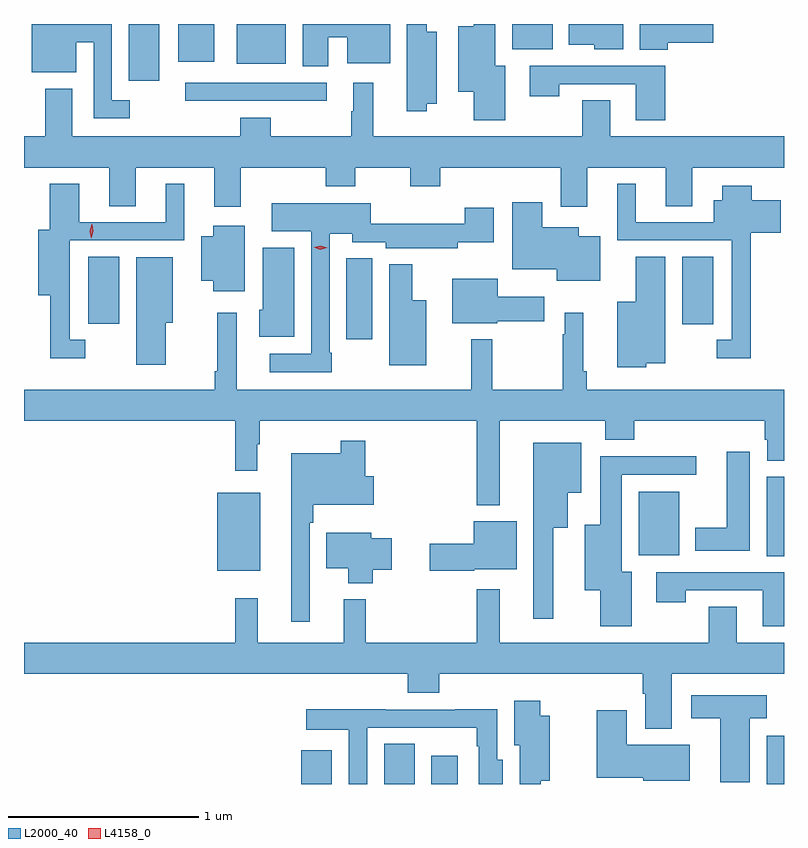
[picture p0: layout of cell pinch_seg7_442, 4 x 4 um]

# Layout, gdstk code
import gdstk
lib = gdstk.Library(unit=1e-6, precision=1e-09)
def R(c, l, rs):  # rectangles x0, y0, x1, y1
    for r in rs: c.add(gdstk.rectangle(r[:2], r[2:], *l))
def P(c, l, *ps):  # polygons
    for p in ps: c.add(gdstk.Polygon(p, *l))
L2000_40 = (2000, 40)
L4158_0 = (4158, 0)

pinch_seg7_442 = lib.new_cell('pinch_seg7_442')
R(pinch_seg7_442, L2000_40, [(265.91,1053.316,266.071,1053.493), (266.345,1053.316,266.506,1053.527), (266.594,1053.316,266.734,1053.466), (268.358,1053.316,268.45,1053.571), (265.466,1054.439,265.693,1054.849), (268.358,1054.516,268.45,1054.932), (267.686,1054.52,267.898,1054.855), (266.147,1055.658,266.284,1056.083), (267.914,1055.736,268.078,1056.092), (264.788,1055.739,264.952,1056.092), (265.299,1056.912,266.044,1057.008), (265.001,1057.017,265.162,1057.316), (265.571,1057.106,265.828,1057.316), (265.262,1057.118,265.45,1057.316), (267.02,1057.184,267.232,1057.316)])
P(pinch_seg7_442, L2000_40, [(265.006,1056.915),(264.912,1056.915),(264.912,1057.316),(264.491,1057.316),(264.491,1057.061),(264.724,1057.061),(264.724,1057.219),(264.816,1057.219),(264.816,1056.819),(265.006,1056.819)],
  [(266.569,1056.896),(266.623,1056.896),(266.623,1057.276),(266.569,1057.276),(266.569,1057.316),(266.465,1057.316),(266.465,1056.857),(266.569,1056.857)],
  [(266.983,1057.096),(266.929,1057.096),(266.929,1057.316),(266.816,1057.316),(266.816,1057.303),(266.735,1057.303),(266.735,1056.959),(266.816,1056.959),(266.816,1056.81),(266.983,1056.81)],
  [(267.839,1057.217),(268.078,1057.217),(268.078,1057.316),(267.692,1057.316),(267.692,1057.18),(267.839,1057.18)],
  [(266.05,1057.247),(266.15,1057.247),(266.15,1057.109),(266.377,1057.109),(266.377,1057.316),(265.916,1057.316),(265.916,1057.093),(266.05,1057.093)],
  [(267.604,1057.316),(267.317,1057.316),(267.317,1057.208),(267.45,1057.208),(267.45,1057.184),(267.604,1057.184)],
  [(267.824,1057.095),(267.111,1057.095),(267.111,1056.936),(267.267,1056.936),(267.267,1056.999),(267.671,1056.999),(267.671,1056.81),(267.824,1056.81)],
  [(267.535,1056.914),(267.388,1056.914),(267.388,1056.724),(266.287,1056.724),(266.287,1057.006),(266.183,1057.006),(266.183,1056.857),(266.173,1056.857),(266.173,1056.724),(265.749,1056.724),(265.749,1056.823),(265.589,1056.823),(265.589,1056.724),(264.703,1056.724),(264.703,1056.976),(264.563,1056.976),(264.563,1056.724),(264.45,1056.724),(264.45,1056.56),(264.899,1056.56),(264.899,1056.358),(265.039,1056.358),(265.039,1056.56),(265.451,1056.56),(265.451,1056.354),(265.591,1056.354),(265.591,1056.56),(266.038,1056.56),(266.038,1056.461),(266.193,1056.461),(266.193,1056.56),(266.482,1056.56),(266.482,1056.461),(266.642,1056.461),(266.642,1056.56),(267.275,1056.56),(267.275,1056.354),(267.415,1056.354),(267.415,1056.56),(267.827,1056.56),(267.827,1056.358),(267.967,1056.358),(267.967,1056.56),(268.45,1056.56),(268.45,1056.724),(267.535,1056.724)],
  [(268.275,1056.218),(268.432,1056.218),(268.432,1056.388),(268.281,1056.388),(268.281,1056.466),(268.124,1056.466),(268.124,1056.388),(268.079,1056.388),(268.079,1056.273),(267.67,1056.273),(267.67,1056.475),(267.572,1056.475),(267.572,1056.177),(268.176,1056.177),(268.176,1055.655),(268.095,1055.655),(268.095,1055.558),(268.275,1055.558)],
  [(264.772,1055.655),(264.69,1055.655),(264.69,1056.177),(265.294,1056.177),(265.294,1056.475),(265.196,1056.475),(265.196,1056.273),(264.742,1056.273),(264.742,1056.475),(264.586,1056.475),(264.586,1056.232),(264.524,1056.232),(264.524,1055.888),(264.589,1055.888),(264.589,1055.558),(264.772,1055.558)],
  [(267.484,1056.199),(267.37,1056.199),(267.37,1056.247),(267.178,1056.247),(267.178,1056.379),(267.02,1056.379),(267.02,1056.026),(267.254,1056.026),(267.254,1055.966),(267.484,1055.966)],
  [(266.071,1055.587),(266.058,1055.587),(266.058,1056.212),(266.178,1056.212),(266.178,1056.168),(266.354,1056.168),(266.354,1056.137),(266.734,1056.137),(266.734,1056.167),(266.923,1056.167),(266.923,1056.349),(266.771,1056.349),(266.771,1056.265),(266.274,1056.265),(266.274,1056.373),(265.755,1056.373),(265.755,1056.224),(265.962,1056.224),(265.962,1055.58),(265.743,1055.58),(265.743,1055.484),(266.071,1055.484)],
  [(265.612,1056.253),(265.445,1056.253),(265.445,1056.199),(265.382,1056.199),(265.382,1055.966),(265.445,1055.966),(265.445,1055.909),(265.612,1055.909)],
  [(265.873,1056.139),(265.706,1056.139),(265.706,1055.811),(265.688,1055.811),(265.688,1055.669),(265.873,1055.669)],
  [(267.726,1055.531),(267.826,1055.531),(267.826,1056.092),(267.671,1056.092),(267.671,1055.854),(267.572,1055.854),(267.572,1055.51),(267.726,1055.51)],
  [(265.195,1055.744),(265.234,1055.744),(265.234,1056.088),(265.04,1056.088),(265.04,1055.523),(265.195,1055.523)],
  [(266.566,1055.863),(266.494,1055.863),(266.494,1056.052),(266.372,1056.052),(266.372,1055.519),(266.566,1055.519)],
  [(266.94,1055.752),(267.187,1055.752),(267.187,1055.881),(266.944,1055.881),(266.944,1055.974),(266.705,1055.974),(266.705,1055.741),(266.94,1055.741)],
  [(266.953,1055.228),(267.509,1055.228),(267.509,1055.129),(267.662,1055.129),(267.662,1055.228),(268.349,1055.228),(268.349,1055.127),(268.361,1055.127),(268.361,1055.017),(268.45,1055.017),(268.45,1055.392),(267.413,1055.392),(267.413,1055.488),(267.394,1055.488),(267.394,1055.797),(267.297,1055.797),(267.297,1055.684),(267.285,1055.684),(267.285,1055.392),(266.914,1055.392),(266.914,1055.656),(266.803,1055.656),(266.803,1055.392),(265.569,1055.392),(265.569,1055.797),(265.468,1055.797),(265.468,1055.488),(265.453,1055.488),(265.453,1055.392),(264.45,1055.392),(264.45,1055.228),(265.561,1055.228),(265.561,1054.965),(265.678,1054.965),(265.678,1055.105),(265.69,1055.105),(265.69,1055.228),(266.832,1055.228),(266.832,1054.784),(266.953,1054.784)],
  [(265.953,1054.691),(265.973,1054.691),(265.973,1054.787),(266.29,1054.787),(266.29,1054.935),(266.246,1054.935),(266.246,1055.122),(266.118,1055.122),(266.118,1055.056),(265.856,1055.056),(265.856,1054.17),(265.953,1054.17)],
  [(267.235,1054.664),(267.313,1054.664),(267.313,1054.85),(267.382,1054.85),(267.382,1055.113),(267.131,1055.113),(267.131,1054.185),(267.235,1054.185)],
  [(268.27,1055.065),(268.148,1055.065),(268.148,1054.666),(267.983,1054.666),(267.983,1054.544),(268.27,1054.544)],
  [(267.649,1054.432),(267.595,1054.432),(267.595,1054.944),(267.988,1054.944),(267.988,1055.042),(267.482,1055.042),(267.482,1054.681),(267.401,1054.681),(267.401,1054.337),(267.482,1054.337),(267.482,1054.146),(267.649,1054.146)],
  [(266.82,1054.445),(267.043,1054.445),(267.043,1054.699),(266.816,1054.699),(266.816,1054.58),(266.586,1054.58),(266.586,1054.438),(266.82,1054.438)],
  [(266.286,1054.444),(266.386,1054.444),(266.386,1054.609),(266.278,1054.609),(266.278,1054.639),(266.042,1054.639),(266.042,1054.451),(266.156,1054.451),(266.156,1054.373),(266.286,1054.373)],
  [(268.45,1054.431),(267.777,1054.431),(267.777,1054.272),(267.933,1054.272),(267.933,1054.335),(268.337,1054.335),(268.337,1054.146),(268.45,1054.146)],
  [(267.859,1053.896),(268.45,1053.896),(268.45,1054.06),(268.201,1054.06),(268.201,1054.25),(268.054,1054.25),(268.054,1054.06),(266.953,1054.06),(266.953,1054.342),(266.832,1054.342),(266.832,1054.06),(266.249,1054.06),(266.249,1054.288),(266.132,1054.288),(266.132,1054.06),(265.679,1054.06),(265.679,1054.294),(265.561,1054.294),(265.561,1054.06),(264.45,1054.06),(264.45,1053.896),(266.471,1053.896),(266.471,1053.797),(266.636,1053.797),(266.636,1053.896),(267.707,1053.896),(267.707,1053.79),(267.719,1053.79),(267.719,1053.608),(267.859,1053.608)],
  [(268.27,1053.662),(268.36,1053.662),(268.36,1053.784),(267.963,1053.784),(267.963,1053.662),(268.115,1053.662),(268.115,1053.324),(268.27,1053.324)],
  [(267.17,1053.332),(267.217,1053.332),(267.217,1053.676),(267.168,1053.676),(267.168,1053.754),(267.029,1053.754),(267.029,1053.521),(267.059,1053.521),(267.059,1053.316),(267.17,1053.316)],
  [(266.256,1053.612),(266.602,1053.612),(266.602,1053.611),(266.832,1053.611),(266.832,1053.515),(266.844,1053.515),(266.844,1053.316),(266.971,1053.316),(266.971,1053.444),(266.94,1053.444),(266.94,1053.71),(266.719,1053.71),(266.719,1053.708),(266.353,1053.708),(266.353,1053.71),(265.935,1053.71),(265.935,1053.602),(266.16,1053.602),(266.16,1053.316),(266.256,1053.316)],
  [(267.955,1053.523),(267.622,1053.523),(267.622,1053.703),(267.464,1053.703),(267.464,1053.35),(267.708,1053.35),(267.708,1053.332),(267.955,1053.332)])
P(pinch_seg7_442, L4158_0, [(266.01,1056.129),(265.976,1056.14),(265.976,1056.14),(265.976,1056.14),(266.011,1056.149),(266.046,1056.138),(266.046,1056.138),(266.046,1056.138)],
  [(264.803,1056.189),(264.803,1056.189),(264.795,1056.226),(264.807,1056.261),(264.807,1056.261),(264.808,1056.261),(264.815,1056.225),(264.803,1056.189)])

lib.write_gds('pinch_seg7_442.gds')
